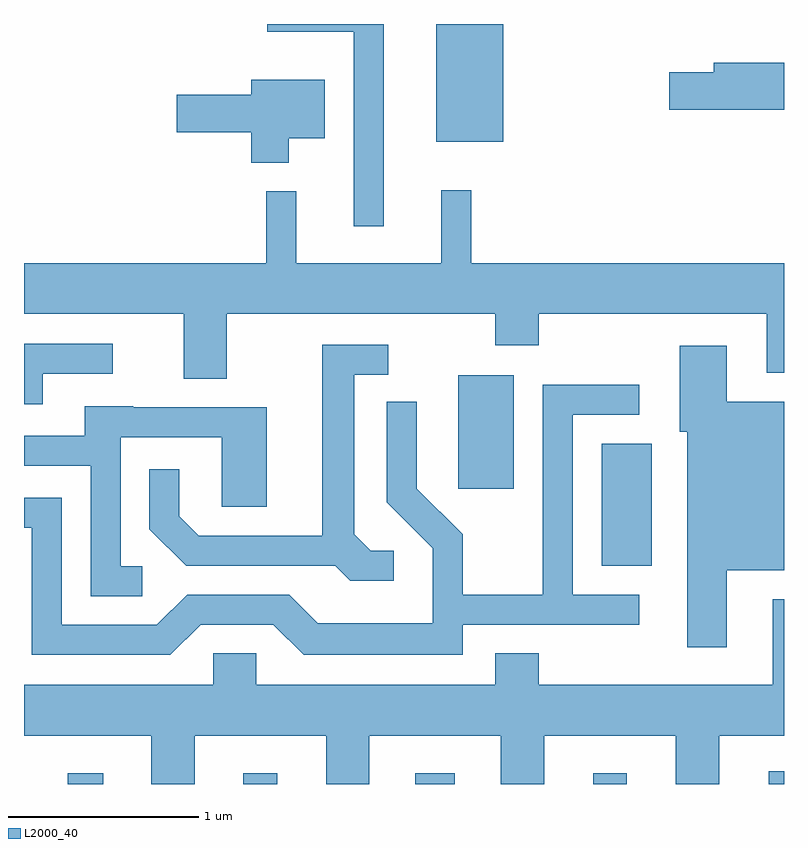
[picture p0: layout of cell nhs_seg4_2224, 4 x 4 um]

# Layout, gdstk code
import gdstk
lib = gdstk.Library(unit=1e-6, precision=1e-09)
def R(c, l, rs):  # rectangles x0, y0, x1, y1
    for r in rs: c.add(gdstk.rectangle(r[:2], r[2:], *l))
def P(c, l, *ps):  # polygons
    for p in ps: c.add(gdstk.Polygon(p, *l))
L2000_40 = (2000, 40)

nhs_seg4_2224 = lib.new_cell('nhs_seg4_2224')
R(nhs_seg4_2224, L2000_40, [(249.841,1349.982,250.029,1350.039), (250.766,1349.982,250.944,1350.039), (251.671,1349.982,251.879,1350.039), (252.606,1349.982,252.784,1350.039), (253.531,1349.982,253.611,1350.048), (252.651,1351.131,252.914,1351.774), (251.896,1351.536,252.189,1352.134), (251.781,1353.361,252.134,1353.982)])
P(nhs_seg4_2224, L2000_40, [(251.504,1353.982),(250.891,1353.982),(250.891,1353.941),(251.346,1353.941),(251.346,1352.918),(251.504,1352.918)],
  [(253.611,1353.779),(253.241,1353.779),(253.241,1353.729),(253.006,1353.729),(253.006,1353.531),(253.611,1353.531)],
  [(251.004,1353.381),(251.194,1353.381),(251.194,1353.689),(250.806,1353.689),(250.806,1353.609),(250.416,1353.609),(250.416,1353.411),(250.806,1353.411),(250.806,1353.251),(251.004,1353.251)],
  [(250.679,1352.456),(252.091,1352.456),(252.091,1352.291),(252.319,1352.291),(252.319,1352.456),(253.521,1352.456),(253.521,1352.146),(253.611,1352.146),(253.611,1352.724),(251.964,1352.724),(251.964,1353.108),(251.806,1353.108),(251.806,1352.724),(251.044,1352.724),(251.044,1353.103),(250.886,1353.103),(250.886,1352.724),(249.611,1352.724),(249.611,1352.456),(250.451,1352.456),(250.451,1352.116),(250.679,1352.116)],
  [(249.709,1352.141),(250.078,1352.141),(250.078,1352.299),(249.611,1352.299),(249.611,1351.981),(249.709,1351.981)],
  [(251.558,1351.209),(251.437,1351.209),(251.349,1351.297),(251.349,1352.136),(251.528,1352.136),(251.528,1352.294),(251.181,1352.294),(251.181,1351.289),(250.532,1351.289),(250.429,1351.392),(250.429,1351.638),(250.271,1351.638),(250.271,1351.324),(250.464,1351.131),(251.249,1351.131),(251.329,1351.051),(251.558,1351.051)],
  [(253.309,1351.106),(253.611,1351.106),(253.611,1351.994),(253.309,1351.994),(253.309,1352.289),(253.061,1352.289),(253.061,1351.836),(253.101,1351.836),(253.101,1350.701),(253.309,1350.701)],
  [(250.542,1350.821),(250.924,1350.821),(251.084,1350.661),(251.919,1350.661),(251.919,1350.821),(252.848,1350.821),(252.848,1350.979),(252.499,1350.979),(252.499,1351.926),(252.848,1351.926),(252.848,1352.084),(252.341,1352.084),(252.341,1350.979),(251.919,1350.979),(251.919,1351.297),(251.679,1351.537),(251.679,1351.993),(251.521,1351.993),(251.521,1351.464),(251.761,1351.224),(251.761,1350.829),(251.157,1350.829),(251.007,1350.979),(250.469,1350.979),(250.309,1350.819),(249.809,1350.819),(249.809,1351.489),(249.611,1351.489),(249.611,1351.331),(249.651,1351.331),(249.651,1350.661),(250.382,1350.661)],
  [(250.233,1351.129),(250.119,1351.129),(250.119,1351.806),(250.651,1351.806),(250.651,1351.441),(250.889,1351.441),(250.889,1351.964),(250.185,1351.964),(250.185,1351.969),(249.931,1351.969),(249.931,1351.814),(249.611,1351.814),(249.611,1351.656),(249.961,1351.656),(249.961,1350.971),(250.233,1350.971)],
  [(252.349,1350.236),(253.041,1350.236),(253.041,1349.982),(253.269,1349.982),(253.269,1350.236),(253.611,1350.236),(253.611,1350.954),(253.551,1350.954),(253.551,1350.504),(252.319,1350.504),(252.319,1350.669),(252.091,1350.669),(252.091,1350.504),(250.834,1350.504),(250.834,1350.669),(250.606,1350.669),(250.606,1350.504),(249.611,1350.504),(249.611,1350.236),(250.281,1350.236),(250.281,1349.982),(250.509,1349.982),(250.509,1350.236),(251.201,1350.236),(251.201,1349.982),(251.429,1349.982),(251.429,1350.236),(252.121,1350.236),(252.121,1349.982),(252.349,1349.982)])

lib.write_gds('nhs_seg4_2224.gds')
